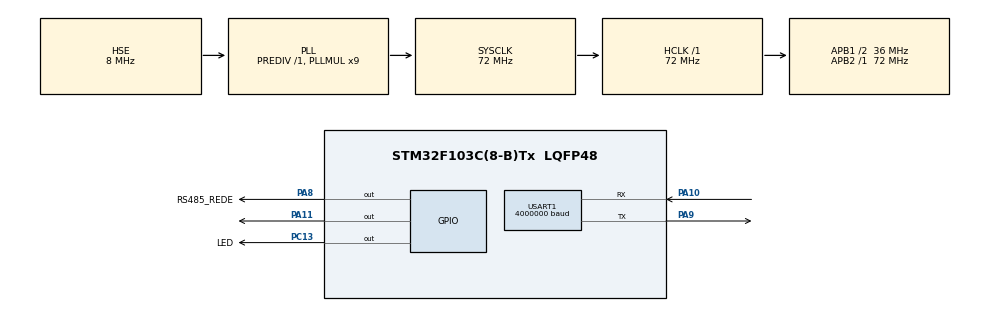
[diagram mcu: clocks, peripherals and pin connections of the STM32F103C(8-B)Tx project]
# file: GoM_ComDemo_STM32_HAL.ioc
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Mcu.Family=STM32F1
Mcu.Name=STM32F103C(8-B)Tx
Mcu.Package=LQFP48
NVIC.PriorityGroup=NVIC_PRIORITYGROUP_4
PA10.Mode=Asynchronous
PA10.Signal=USART1_RX
PA11.Signal=GPIO_Output
PA13.Mode=Serial_Wire
PA13.Signal=SYS_JTMS-SWDIO
PA14.Mode=Serial_Wire
PA14.Signal=SYS_JTCK-SWCLK
PA8.GPIO_Label=RS485_REDE
PA8.Signal=GPIO_Output
PA9.Mode=Asynchronous
PA9.Signal=USART1_TX
PC13-TAMPER-RTC.GPIO_Label=LED
PC13-TAMPER-RTC.Signal=GPIO_Output
PD0-OSC_IN.Mode=HSE-External-Oscillator
PD0-OSC_IN.Signal=RCC_OSC_IN
PD1-OSC_OUT.Mode=HSE-External-Oscillator
PD1-OSC_OUT.Signal=RCC_OSC_OUT
ProjectManager.HeapSize=0x200
ProjectManager.StackSize=0x400
ProjectManager.TargetToolchain=MDK-ARM V5.32
RCC.AHBFreq_Value=72000000
RCC.APB1CLKDivider=RCC_HCLK_DIV2
RCC.APB1Freq_Value=36000000
RCC.APB1TimFreq_Value=72000000
RCC.APB2Freq_Value=72000000
RCC.APB2TimFreq_Value=72000000
RCC.HCLKFreq_Value=72000000
RCC.PLLMUL=RCC_PLL_MUL9
RCC.PLLSourceVirtual=RCC_PLLSOURCE_HSE
RCC.SYSCLKFreq_VALUE=72000000
RCC.SYSCLKSource=RCC_SYSCLKSOURCE_PLLCLK
RCC.USBFreq_Value=72000000
USART1.BaudRate=4000000
USART1.VirtualMode=VM_ASYNC
board=custom

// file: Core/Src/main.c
/* USER CODE BEGIN Header */
/**
  ******************************************************************************
  * @file           : main.c
  * @brief          : Main program body
  ******************************************************************************
  * @attention
  *
  * Copyright (c) 2025 STMicroelectronics.
  * All rights reserved.
  *
  * This software is licensed under terms that can be found in the LICENSE file
  * in the root directory of this software component.
  * If no LICENSE file comes with this software, it is provided AS-IS.
  *
  ******************************************************************************
  */
/* USER CODE END Header */
#include "main.h"
#include "usart.h"
#include "gpio.h"

/* USER CODE BEGIN Includes */
#include "gom_protocol.h"
/* USER CODE END Includes */

/* USER CODE BEGIN PD */
#define RS485_RxMode()    (HAL_GPIO_WritePin(RS485_REDE_GPIO_Port, RS485_REDE_Pin, GPIO_PIN_RESET))
#define RS485_TxMode()    (HAL_GPIO_WritePin(RS485_REDE_GPIO_Port, RS485_REDE_Pin, GPIO_PIN_SET))
/* USER CODE END PD */

/* USER CODE BEGIN PV */
MotorCmd_t cmd = {0};
MotorData_t data = {0};

HAL_StatusTypeDef tx_res;
HAL_StatusTypeDef rx_res;
/* USER CODE END PV */

void SystemClock_Config(void);

int main(void)
{

  /* MCU Configuration--------------------------------------------------------*/

  /* Reset of all peripherals, Initializes the Flash interface and the Systick. */
  HAL_Init();

  /* Configure the system clock */
  SystemClock_Config();

  /* Initialize all configured peripherals */
  MX_GPIO_Init();
  MX_USART1_UART_Init();
  /* USER CODE BEGIN 2 */

  RS485_RxMode();
  HAL_Delay(1000);

  cmd.id = 3;//change id here
  cmd.mode = 0;
  cmd.K_P = 0;
  cmd.K_W = 0;
  cmd.Pos = 0;
  cmd.W = 0;
  cmd.T = 0;

  /* USER CODE END 2 */

  /* Infinite loop */
  /* USER CODE BEGIN WHILE */
  while (1)
  {
    HAL_GPIO_TogglePin(LED_GPIO_Port, LED_Pin);

    modify_data(&cmd);

    RS485_TxMode();
    tx_res = HAL_UART_Transmit(&huart1, (uint8_t *)&cmd.motor_send_data, sizeof(cmd.motor_send_data), 1);

    RS485_RxMode();
    rx_res = HAL_UART_Receive(&huart1, (uint8_t *)&data.motor_recv_data, sizeof(data.motor_recv_data), 1);
    if (rx_res == HAL_TIMEOUT)
    {
      data.timeout++;
    }

    extract_data(&data);

    if (data.MError != 0)
    {
      /* 电机MError不等于0 代表电机进入了错误状态 此时电机进入阻尼模式 且不会响应任何运动控制指令 */
      /* 你的机器人系统需要为此 Do something ... 例如: 控制其他电机进入阻尼状态 防止继续运动 */
    }

    HAL_Delay(1);   // 建议单电机1000Hz的收发频率 总线最高轮询频率3000Hz 过高的通信频率会影响电机正常工作
    /* USER CODE END WHILE */

  }
}

void SystemClock_Config(void)
{
  RCC_OscInitTypeDef RCC_OscInitStruct = {0};
  RCC_ClkInitTypeDef RCC_ClkInitStruct = {0};

  /** Initializes the RCC Oscillators according to the specified parameters
  * in the RCC_OscInitTypeDef structure.
  */
  RCC_OscInitStruct.OscillatorType = RCC_OSCILLATORTYPE_HSE;
  RCC_OscInitStruct.HSEState = RCC_HSE_ON;
  RCC_OscInitStruct.HSEPredivValue = RCC_HSE_PREDIV_DIV1;
  RCC_OscInitStruct.HSIState = RCC_HSI_ON;
  RCC_OscInitStruct.PLL.PLLState = RCC_PLL_ON;
  RCC_OscInitStruct.PLL.PLLSource = RCC_PLLSOURCE_HSE;
  RCC_OscInitStruct.PLL.PLLMUL = RCC_PLL_MUL9;
  if (HAL_RCC_OscConfig(&RCC_OscInitStruct) != HAL_OK)
  {
    Error_Handler();
  }

  /** Initializes the CPU, AHB and APB buses clocks
  */
  RCC_ClkInitStruct.ClockType = RCC_CLOCKTYPE_HCLK|RCC_CLOCKTYPE_SYSCLK
                              |RCC_CLOCKTYPE_PCLK1|RCC_CLOCKTYPE_PCLK2;
  RCC_ClkInitStruct.SYSCLKSource = RCC_SYSCLKSOURCE_PLLCLK;
  RCC_ClkInitStruct.AHBCLKDivider = RCC_SYSCLK_DIV1;
  RCC_ClkInitStruct.APB1CLKDivider = RCC_HCLK_DIV2;
  RCC_ClkInitStruct.APB2CLKDivider = RCC_HCLK_DIV1;

  if (HAL_RCC_ClockConfig(&RCC_ClkInitStruct, FLASH_LATENCY_2) != HAL_OK)
  {
    Error_Handler();
  }
}

void Error_Handler(void)
{
  __disable_irq();
  while (1)
  {
  }
}
